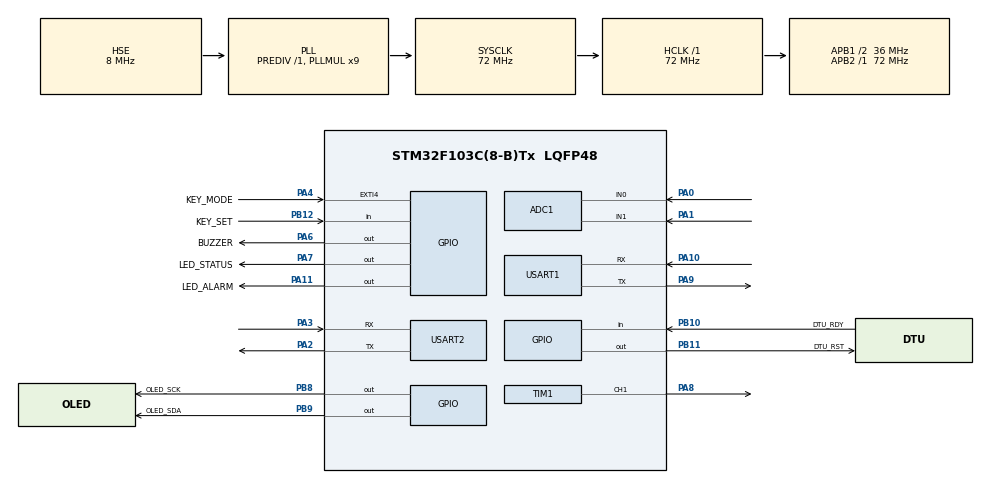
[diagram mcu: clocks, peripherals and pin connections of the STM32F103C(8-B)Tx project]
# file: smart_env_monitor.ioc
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ADC1.Channel-4\#ChannelRegularConversion=ADC_CHANNEL_0
ADC1.NbrOfConversionFlag=1
ADC1.Rank-4\#ChannelRegularConversion=1
ADC1.SamplingTime-4\#ChannelRegularConversion=ADC_SAMPLETIME_239CYCLES_5
ADC1.master=1
Dma.ADC1.0.Direction=DMA_PERIPH_TO_MEMORY
Dma.ADC1.0.Instance=DMA1_Channel1
Dma.ADC1.0.MemDataAlignment=DMA_MDATAALIGN_HALFWORD
Dma.ADC1.0.MemInc=DMA_MINC_ENABLE
Dma.ADC1.0.Mode=DMA_NORMAL
Dma.ADC1.0.PeriphDataAlignment=DMA_PDATAALIGN_HALFWORD
Dma.ADC1.0.PeriphInc=DMA_PINC_DISABLE
Dma.ADC1.0.Priority=DMA_PRIORITY_LOW
Dma.Request0=ADC1
FREERTOS.Queues01=xSensorQueue,5,8,1,Dynamic,NULL,NULL;xKeyQueue,3,4,1,Dynamic,NULL,NULL
FREERTOS.Tasks01=defaultTask,24,128,StartDefaultTask,Default,NULL,Dynamic,NULL,NULL;SensorTask,32,256,Task1,Default,NULL,Dynamic,NULL,NULL;DisplayTask,24,256,Task2,Default,NULL,Dynamic,NULL,NULL;ControlTask,32,256,Task3,Default,NULL,Dynamic,NULL,NULL;DtuTask,16,512,Task4,Default,NULL,Dynamic,NULL,NULL;KeyTask,40,128,Task5,Default,NULL,Dynamic,NULL,NULL
FREERTOS.configTOTAL_HEAP_SIZE=10240
Mcu.Family=STM32F1
Mcu.Name=STM32F103C(8-B)Tx
Mcu.Package=LQFP48
NVIC.EXTI4_IRQn=true\:6\:0\:true\:false\:true\:true\:true\:true\:true
NVIC.PriorityGroup=NVIC_PRIORITYGROUP_4
NVIC.TIM2_IRQn=true\:0\:0\:false\:false\:true\:false\:false\:true\:true
NVIC.TimeBase=TIM2_IRQn
NVIC.TimeBaseIP=TIM2
NVIC.USART1_IRQn=true\:5\:0\:true\:false\:true\:true\:true\:true\:true
NVIC.USART2_IRQn=true\:5\:0\:true\:false\:true\:true\:true\:true\:true
PA0-WKUP.Signal=ADCx_IN0
PA1.Signal=ADCx_IN1
PA10.Mode=Asynchronous
PA10.Signal=USART1_RX
PA11.GPIO_Label=LED_ALARM
PA11.Signal=GPIO_Output
PA13.Mode=Serial_Wire
PA13.Signal=SYS_JTMS-SWDIO
PA14.Mode=Serial_Wire
PA14.Signal=SYS_JTCK-SWCLK
PA2.Mode=Asynchronous
PA2.Signal=USART2_TX
PA3.Mode=Asynchronous
PA3.Signal=USART2_RX
PA4.GPIO_Label=KEY_MODE
PA4.GPIO_ModeDefaultEXTI=GPIO_MODE_IT_FALLING
PA4.GPIO_PuPd=GPIO_PULLUP
PA4.Signal=GPXTI4
PA6.GPIO_Label=BUZZER
PA6.Signal=GPIO_Output
PA7.GPIO_Label=LED_STATUS
PA7.Signal=GPIO_Output
PA8.Signal=S_TIM1_CH1
PA9.Mode=Asynchronous
PA9.Signal=USART1_TX
PB10.GPIO_Label=DTU_RDY
PB10.Signal=GPIO_Input
PB11.GPIO_Label=DTU_RST
PB11.Signal=GPIO_Output
PB12.GPIO_Label=KEY_SET
PB12.GPIO_PuPd=GPIO_PULLUP
PB12.Signal=GPIO_Input
PB8.GPIO_Label=OLED_SCK
PB8.GPIO_ModeDefaultOutputPP=GPIO_MODE_OUTPUT_OD
PB8.GPIO_PuPd=GPIO_NOPULL
PB8.GPIO_Speed=GPIO_SPEED_FREQ_HIGH
PB8.Signal=GPIO_Output
PB9.GPIO_Label=OLED_SDA
PB9.GPIO_ModeDefaultOutputPP=GPIO_MODE_OUTPUT_OD
PB9.GPIO_PuPd=GPIO_NOPULL
PB9.GPIO_Speed=GPIO_SPEED_FREQ_HIGH
PB9.Signal=GPIO_Output
PD0-OSC_IN.Mode=HSE-External-Oscillator
PD0-OSC_IN.Signal=RCC_OSC_IN
PD1-OSC_OUT.Mode=HSE-External-Oscillator
PD1-OSC_OUT.Signal=RCC_OSC_OUT
ProjectManager.HeapSize=0x200
ProjectManager.StackSize=0x400
ProjectManager.TargetToolchain=MDK-ARM V5.32
RCC.ADCPresc=RCC_ADCPCLK2_DIV6
RCC.AHBFreq_Value=72000000
RCC.APB1CLKDivider=RCC_HCLK_DIV2
RCC.APB1Freq_Value=36000000
RCC.APB1TimFreq_Value=72000000
RCC.APB2Freq_Value=72000000
RCC.APB2TimFreq_Value=72000000
RCC.HCLKFreq_Value=72000000
RCC.PLLMUL=RCC_PLL_MUL9
RCC.PLLSourceVirtual=RCC_PLLSOURCE_HSE
RCC.SYSCLKFreq_VALUE=72000000
RCC.SYSCLKSource=RCC_SYSCLKSOURCE_PLLCLK
RCC.USBFreq_Value=72000000
SH.ADCx_IN0.0=ADC1_IN0,IN0
SH.ADCx_IN1.0=ADC1_IN1,IN1
SH.S_TIM1_CH1.0=TIM1_CH1,PWM Generation1 CH1
TIM1.Channel-PWM\ Generation1\ CH1=TIM_CHANNEL_1
TIM1.Period=19999
TIM1.Prescaler=71
TIM1.Pulse-PWM\ Generation1\ CH1=150
USART1.VirtualMode=VM_ASYNC
USART2.VirtualMode=VM_ASYNC
VP_FREERTOS_VS_CMSIS_V2.Mode=CMSIS_V2
VP_SYS_VS_tim2.Mode=TIM2
board=custom

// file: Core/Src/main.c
/* USER CODE BEGIN Header */
/**
  ******************************************************************************
  * @file           : main.c
  * @brief          : Main program body
  ******************************************************************************
  * @attention
  *
  * Copyright (c) 2026 STMicroelectronics.
  * All rights reserved.
  *
  * This software is licensed under terms that can be found in the LICENSE file
  * in the root directory of this software component.
  * If no LICENSE file comes with this software, it is provided AS-IS.
  *
  ******************************************************************************
  */
/* USER CODE END Header */
#include "main.h"
#include "cmsis_os.h"
#include "adc.h"
#include "dma.h"
#include "tim.h"
#include "usart.h"
#include "gpio.h"
#include "oled.h"

/* USER CODE BEGIN Includes */
#include "cmsis_os2.h"
/* USER CODE END Includes */

/* USER CODE BEGIN PV */
extern osThreadId_t SensorTaskHandle;
extern osThreadId_t DisplayTaskHandle;
extern osThreadId_t ControlTaskHandle;
extern osThreadId_t DtuTaskHandle;
extern osThreadId_t KeyTaskHandle;
extern osMessageQueueId_t xSensorQueueHandle;
extern osMessageQueueId_t xKeyQueueHandle;
extern osSemaphoreId_t xSem_Key;
extern volatile float g_temp_value;
extern volatile float g_light_value;
/* USER CODE END PV */

void SystemClock_Config(void);
void MX_FREERTOS_Init(void);
/* USER CODE BEGIN PFP */
void StartDefaultTask(void *argument);
void Task1(void *argument);
void Task2(void *argument);
void Task3(void *argument);
void Task4(void *argument);
void Task5(void *argument);
/* USER CODE END PFP */

int main(void)
{

  /* MCU Configuration--------------------------------------------------------*/

  /* Reset of all peripherals, Initializes the Flash interface and the Systick. */
  HAL_Init();

  /* Configure the system clock */
  SystemClock_Config();

  /* Initialize all configured peripherals */
  MX_GPIO_Init();
  MX_DMA_Init();
  MX_ADC1_Init();
  MX_TIM1_Init();
  MX_USART1_UART_Init();
  MX_USART2_UART_Init();
  /* USER CODE BEGIN 2 */
  /* 初始化 OLED 显示屏 */
  OLED_Init();
  OLED_Clear();
  OLED_ShowString(1, 1, "SmartEnvMonitor");
  OLED_ShowString(2, 1, "Initializing...");

  /* ADC 校准（STM32F1 需要在首次转换前执行） */
  HAL_ADCEx_Calibration_Start(&hadc1);

  /* 初始化舵机到中间位置 */
  HAL_TIM_PWM_Start(&htim1, TIM_CHANNEL_1);
  __HAL_TIM_SET_COMPARE(&htim1, TIM_CHANNEL_1, 1500);

  /* 初始化所有输出为关闭状态 */
  HAL_GPIO_WritePin(BUZZER_GPIO_Port, BUZZER_Pin, GPIO_PIN_SET);      /* PA6 高电平灭 */
  HAL_GPIO_WritePin(LED_STATUS_GPIO_Port, LED_STATUS_Pin, GPIO_PIN_SET);   /* PA7 高电平灭 */
  HAL_GPIO_WritePin(LED_ALARM_GPIO_Port, LED_ALARM_Pin, GPIO_PIN_SET);     /* PA11 高电平灭 */
  /* USER CODE END 2 */

  /* Init scheduler */
  osKernelInitialize();  /* Call init function for freertos objects (in cmsis_os2.c) */
  MX_FREERTOS_Init();

  /* Start scheduler */
  osKernelStart();

  /* We should never get here as control is now taken by the scheduler */

  /* Infinite loop */
  while (1)
  {

  }
}

void SystemClock_Config(void)
{
  RCC_OscInitTypeDef RCC_OscInitStruct = {0};
  RCC_ClkInitTypeDef RCC_ClkInitStruct = {0};
  RCC_PeriphCLKInitTypeDef PeriphClkInit = {0};

  /** Initializes the RCC Oscillators according to the specified parameters
  * in the RCC_OscInitTypeDef structure.
  */
  RCC_OscInitStruct.OscillatorType = RCC_OSCILLATORTYPE_HSE;
  RCC_OscInitStruct.HSEState = RCC_HSE_ON;
  RCC_OscInitStruct.HSEPredivValue = RCC_HSE_PREDIV_DIV1;
  RCC_OscInitStruct.HSIState = RCC_HSI_ON;
  RCC_OscInitStruct.PLL.PLLState = RCC_PLL_ON;
  RCC_OscInitStruct.PLL.PLLSource = RCC_PLLSOURCE_HSE;
  RCC_OscInitStruct.PLL.PLLMUL = RCC_PLL_MUL9;
  if (HAL_RCC_OscConfig(&RCC_OscInitStruct) != HAL_OK)
  {
    Error_Handler();
  }

  /** Initializes the CPU, AHB and APB buses clocks
  */
  RCC_ClkInitStruct.ClockType = RCC_CLOCKTYPE_HCLK|RCC_CLOCKTYPE_SYSCLK
                              |RCC_CLOCKTYPE_PCLK1|RCC_CLOCKTYPE_PCLK2;
  RCC_ClkInitStruct.SYSCLKSource = RCC_SYSCLKSOURCE_PLLCLK;
  RCC_ClkInitStruct.AHBCLKDivider = RCC_SYSCLK_DIV1;
  RCC_ClkInitStruct.APB1CLKDivider = RCC_HCLK_DIV2;
  RCC_ClkInitStruct.APB2CLKDivider = RCC_HCLK_DIV1;

  if (HAL_RCC_ClockConfig(&RCC_ClkInitStruct, FLASH_LATENCY_2) != HAL_OK)
  {
    Error_Handler();
  }
  PeriphClkInit.PeriphClockSelection = RCC_PERIPHCLK_ADC;
  PeriphClkInit.AdcClockSelection = RCC_ADCPCLK2_DIV6;
  if (HAL_RCCEx_PeriphCLKConfig(&PeriphClkInit) != HAL_OK)
  {
    Error_Handler();
  }
}

/* USER CODE BEGIN 4 */

/**
  * @brief GPIO外部中断回调函数，按键触发时释放信号量
  */
void HAL_GPIO_EXTI_Callback(uint16_t GPIO_Pin)
{
    if (GPIO_Pin == KEY_MODE_Pin)
    {
        osSemaphoreRelease(xSem_Key);
    }
}
/* USER CODE END 4 */

void HAL_TIM_PeriodElapsedCallback(TIM_HandleTypeDef *htim)
{
  if (htim->Instance == TIM2)
  {
    HAL_IncTick();
  }
}

void Error_Handler(void)
{
  /* USER CODE BEGIN Error_Handler_Debug */
  /* 打印故障原因后挂起，等 IWDG（约 2s 超时）硬件复位——不再永久死机。
     注意：USART2 未初始化时 gState 为 RESET，跳过打印直接等待复位；
     看门狗未挂载前（上电早期）的行为与旧版一致（死等）。 */
  {
    char msg[] = "[ERR] HAL error, IWDG resets in ~2s\r\n";
    if (huart2.gState == HAL_UART_STATE_READY)
    {
      HAL_UART_Transmit(&huart2, (uint8_t *)msg, sizeof(msg) - 1, 100);
    }
  }
  __disable_irq();
  while (1)
  {
  }
  /* USER CODE END Error_Handler_Debug */
}

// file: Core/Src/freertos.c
/* USER CODE BEGIN Header */
/**
  ******************************************************************************
  * File Name          : freertos.c
  * Description        : Code for freertos applications
  ******************************************************************************
  * @attention
  *
  * Copyright (c) 2026 STMicroelectronics.
  * All rights reserved.
  *
  * This software is licensed under terms that can be found in the LICENSE file
  * in the root directory of this software component.
  * If no LICENSE file comes with this software, it is provided AS-IS.
  *
  ******************************************************************************
  */
/* USER CODE END Header */

#include "FreeRTOS.h"
#include "task.h"
#include "main.h"
#include "cmsis_os.h"

/* USER CODE BEGIN Includes */
#include "oled.h"
#include "adc.h"
#include "tim.h"
#include "usart.h"
#include <stdio.h>
#include <string.h>
#include <stdlib.h>
/* USER CODE END Includes */

/* USER CODE BEGIN PD */
/* ---- 硬件 / 协议常量：集中定义，避免魔法数字散布 ---- */
#define ADC_FULL_SCALE   4095  /* ADC 12 位满量程 */
#define SERVO_MIN_PULSE  500   /* 舵机最小脉宽(μs)，约 0° */
#define SERVO_MAX_PULSE  2500  /* 舵机最大脉宽(μs)，约 180° */
#define SERVO_MID_PULSE  1500  /* 舵机中位脉宽(μs)，约 90° */
#define SERVO_STEP       500   /* 手动模式步进脉宽(μs) */
#define SERVO_STEPS      5     /* 手动模式档位数量 */
#define LIGHT_THR_MIN    10    /* 光照阈值下界(%) */
#define LIGHT_THR_MAX    50    /* 光照阈值上界(%) */
#define LIGHT_THR_STEP   5     /* 光照阈值步进(%) */
#define LIGHT_THR_DEFAULT 30   /* 光照阈值初值(%) */
#define TEMP_THR_MIN     15    /* 温度阈值下界(°C) */
#define TEMP_THR_MAX     45    /* 温度阈值上界(°C) */
#define TEMP_THR_STEP    5     /* 温度阈值步进(°C) */
#define TEMP_THR_DEFAULT 30    /* 温度阈值初值(°C) */
#define VIN_REPORT_DV    33    /* 供电电压上报(×0.1V)，当前为占位值未实测 */
#define KEY_DEBOUNCE_MS  30    /* KEY_MODE 消抖窗口(ms)，与 KEY_SET 轮询消抖一致 */
#define KEY_POLL_MS      20    /* KeyTask 轮询周期(ms) */
#define SENSOR_SAMPLE_MS 1000  /* 传感器采样周期(ms)：1s 采样，5s 汇总上报 */
#define CONTROL_PERIOD_MS 200  /* ControlTask 报警控制周期(ms) */
#define DTU_TASK_PERIOD_MS 200 /* DtuTask 主循环周期(ms)，兼作 IWDG 喂狗间隔 */
#define DISPLAY_REFRESH_MS 300 /* DisplayTask OLED 刷新周期(ms) */
#define DISPLAY_INIT_HOLD_MS 100 /* OLED 初始化后等待(ms) */
#define RX_STATS_INTERVAL_MS 10000 /* 命令接收统计打印周期(ms) */
#define LIGHT_MAP_MAX_PCT 100.0f  /* 光照百分比线性映射上界(%) */
#define TEMP_MAP_MAX_C    50.0f   /* 温度线性映射上界(°C)：未标定，仅 ADC 线性估计（见 README 已知限制） */
/* USER CODE END PD */

/* USER CODE BEGIN Variables */
/* 传感器数据结构 */
typedef struct {
    uint16_t light_raw;
    uint16_t temp_raw;
    float light_pct;
    float temp_c;
} SensorData_t;

/* 全局传感器值（供其他模块读取） */
volatile float g_temp_value = 0.0f;
volatile float g_light_value = 0.0f;

/* 滑动均值滤波器 */
#define FILTER_SIZE 16
static uint16_t light_buf[FILTER_SIZE] = {0};
static uint16_t temp_buf[FILTER_SIZE] = {0};
static uint32_t light_sum = 0;
static uint32_t temp_sum = 0;
static uint8_t filter_idx = 0;
static uint8_t filter_cnt = 0;

/* 系统工作模式 */
typedef enum { MODE_AUTO = 0, MODE_MANUAL, MODE_SET } WorkMode_t;
#define WORK_MODE_COUNT ((int)MODE_SET + 1)  /* 模式总数，按键循环切换取模用 */
volatile WorkMode_t g_work_mode = MODE_AUTO;

/* 报警阈值 */
volatile uint8_t g_light_threshold = LIGHT_THR_DEFAULT;  /* 光照阈值(%) */
volatile uint8_t g_temp_threshold  = TEMP_THR_DEFAULT;   /* 温度阈值(°C) */
volatile uint8_t g_set_state = 0;         /* SET模式：0=调光照 1=调温度 2=保存退出 */

/* 舵机脉宽（500~2500 μs 对应约 0°~180°） */
volatile uint16_t g_servo_pulse = SERVO_MID_PULSE;

/* 信号量（在 MX_FREERTOS_Init 中创建） */
osSemaphoreId_t xSem_Key;
const osSemaphoreAttr_t xSem_Key_attr = { .name = "SemKey" };

/* 调试串口互斥量：Task1(传感器) 与 DtuTask(通信) 共用 huart2，防止输出交错 */
osMutexId_t xHuart2Mutex;
const osMutexAttr_t xHuart2Mutex_attr = { .name = "Huart2Mutex" };

/* ---- USART1（DTU）命令接收：环形缓冲，ISR 只写字节，DtuTask 组行消费。
     旧固定单缓冲的缺陷：① 连续两条指令到达时，第二条的 strncpy 会覆盖
     尚未被消费的第一条（丢命令）；② ISR 内做 256B strncpy 过长；
     ③ 缓冲满时静默清零，整帧丢弃无痕迹；④ 共享命令缓冲无 volatile。
     环形缓冲后：连续指令不丢帧、ISR 仅做几个字节的存取、溢出计数可观测。 ---- */
#define DTU_RX_RING_SIZE  256   /* 2 的幂，取模退化为掩码 */
#define DTU_RX_RING_MASK  (DTU_RX_RING_SIZE - 1)
static uint8_t  dtu_rx_byte;                    /* HAL_Receive_IT 的目标地址 */
static volatile uint8_t  dtu_rx_ring[DTU_RX_RING_SIZE];  /* ISR 写、任务读 */
static volatile uint16_t dtu_rx_head = 0;       /* 生产端（ISR） */
static volatile uint16_t dtu_rx_tail = 0;       /* 消费端（DtuTask） */
static volatile uint32_t dtu_rx_overflow = 0;   /* 环满丢字节计数（可观测） */
static volatile uint32_t dtu_rx_lines = 0;      /* 已处理命令行计数（可观测） */
static volatile uint32_t dtu_rx_arm_fail = 0;   /* ISR 重挂 Receive_IT 失败计数 */
static char dtu_cmd_line[DTU_RX_RING_SIZE];     /* 任务私有组行缓冲，无竞争 */
static uint16_t dtu_line_len = 0;

/* 收到指令的回显（验证用）：2026-08-08 连续下发 4 条指令验证通过
   （lines=4 overflow=0），已置 0 关闭。重新验证 PA9/PA10 接线时置 1：
   ① 打到调试口 [DTU] RX: xxx；
   ② 原样回发 USART1(PA9)，助手 RX 接 PA9 时直接看到指令弹回来，
      证明 助手TX→PA10 与 PA9→助手RX 双向链路都通。 */
#define DTU_RX_ECHO 0

/* ---- USART2（调试口）指令通道：同一套环形缓冲 + 行组装，复用 DTU_ParseCommand。
     一根 USB-TTL 接 PA2/PA3 即可同时看日志 + 发指令；PA9/PA10 保持专属于 DTU，
     避免两根 TX 打架。命令回显 [HOST] RX: xxx 直接打在调试口，同一窗口可见。 ---- */
#define HOST_RX_RING_SIZE  DTU_RX_RING_SIZE
#define HOST_RX_RING_MASK  (HOST_RX_RING_SIZE - 1)
static uint8_t  host_rx_byte;                    /* HAL_Receive_IT 的目标地址 */
static volatile uint8_t  host_rx_ring[HOST_RX_RING_SIZE];
static volatile uint16_t host_rx_head = 0;       /* 生产端（USART2 ISR） */
static volatile uint16_t host_rx_tail = 0;       /* 消费端（DtuTask） */
static volatile uint32_t host_rx_overflow = 0;   /* 环满丢字节计数（可观测） */
static volatile uint32_t host_rx_lines = 0;      /* 已处理命令行计数（可观测） */
static volatile uint32_t host_rx_arm_fail = 0;   /* ISR 重挂 Receive_IT 失败计数 */
static char host_cmd_line[HOST_RX_RING_SIZE];    /* 任务私有组行缓冲，无竞争 */
static uint16_t host_line_len = 0;

/* 心跳上报周期(ms)：DTU 链路健康由平台侧按上报新鲜度判定（5s 上报，
   网关侧 15s 未更新判离线），无硬件断连检测——RDY/RST 引脚（PB10/PB11）未接线。
   旧"断连自动复位"逻辑因 DTU_IsConnected 恒返回 1 而不可达，属死代码，已删除。 */
#define DTU_REPORT_INTERVAL 5000

#define SENSOR_DEBUG_INTERVAL 5000
/* USER CODE END Variables */
/* Definitions for defaultTask */
osThreadId_t defaultTaskHandle;
const osThreadAttr_t defaultTask_attributes = {
  .name = "defaultTask",
  .stack_size = 128 * 4,
  .priority = (osPriority_t) osPriorityNormal,
};
/* Definitions for SensorTask */
osThreadId_t SensorTaskHandle;
const osThreadAttr_t SensorTask_attributes = {
  .name = "SensorTask",
  .stack_size = 256 * 4,
  .priority = (osPriority_t) osPriorityAboveNormal,
};
/* Definitions for DisplayTask */
osThreadId_t DisplayTaskHandle;
const osThreadAttr_t DisplayTask_attributes = {
  .name = "DisplayTask",
  .stack_size = 256 * 4,
  .priority = (osPriority_t) osPriorityNormal,
};
/* Definitions for ControlTask */
osThreadId_t ControlTaskHandle;
const osThreadAttr_t ControlTask_attributes = {
  .name = "ControlTask",
  .stack_size = 256 * 4,
  .priority = (osPriority_t) osPriorityAboveNormal,
};
/* Definitions for DtuTask（任务名与硬件职责一致：驱动 4G DTU） */
osThreadId_t DtuTaskHandle;
const osThreadAttr_t DtuTask_attributes = {
  .name = "DtuTask",
  .stack_size = 512 * 4,
  .priority = (osPriority_t) osPriorityBelowNormal,
};
/* Definitions for KeyTask */
osThreadId_t KeyTaskHandle;
const osThreadAttr_t KeyTask_attributes = {
  .name = "KeyTask",
  .stack_size = 128 * 4,
  .priority = (osPriority_t) osPriorityHigh,
};
/* Definitions for xSensorQueue */
osMessageQueueId_t xSensorQueueHandle;
const osMessageQueueAttr_t xSensorQueue_attributes = {
  .name = "xSensorQueue"
};
/* Definitions for xKeyQueue */
osMessageQueueId_t xKeyQueueHandle;
const osMessageQueueAttr_t xKeyQueue_attributes = {
  .name = "xKeyQueue"
};

/* USER CODE BEGIN FunctionPrototypes */
static uint16_t SensorFilter(uint16_t new_val, uint16_t *buf, uint32_t *sum);
static uint16_t ADC_ReadChannel(uint32_t channel);
static void UART2_Print(const char *msg);
static void PrintStackWatermarks(void);
static void DTU_Init(void);
static void DTU_SendData(const char *data);
static void DTU_SendTelemetry(const char *did, uint8_t debug_log);
static void DTU_ParseCommand(const char *cmd);
static void DTU_ProcessRx(void);
static void HOST_Init(void);
static void HOST_ProcessRx(void);
static void IWDG_Init(void);
static void IWDG_Feed(void);

/* 验证用：向串口发 CRASH 模拟死机，IWDG 约 2s 后自动复位（上板验证看门狗，
   已于 2026-08-08 两次验证通过）。终版置 0 关闭——测试钩子不进交付固件；
   需复验时翻回 1 重新编译烧录即可。 */
#define WDT_CRASH_TEST 0
/* USER CODE END FunctionPrototypes */

void StartDefaultTask(void *argument);
void Task1(void *argument);
void Task2(void *argument);
void Task3(void *argument);
void Task4(void *argument);
void Task5(void *argument);

void MX_FREERTOS_Init(void); /* (MISRA C 2004 rule 8.1) */

void MX_FREERTOS_Init(void) {

  /* USER CODE BEGIN RTOS_MUTEX */
  xHuart2Mutex = osMutexNew(&xHuart2Mutex_attr);
  /* USER CODE END RTOS_MUTEX */

  /* USER CODE BEGIN RTOS_SEMAPHORES */
  xSem_Key = osSemaphoreNew(1, 0, &xSem_Key_attr);
  /* USER CODE END RTOS_SEMAPHORES */

  /* Create the queue(s) */
  /* creation of xSensorQueue */
  xSensorQueueHandle = osMessageQueueNew (5, 8, &xSensorQueue_attributes);

  /* creation of xKeyQueue */
  xKeyQueueHandle = osMessageQueueNew (3, 4, &xKeyQueue_attributes);

  /* Create the thread(s) */
  /* creation of defaultTask */
  defaultTaskHandle = osThreadNew(StartDefaultTask, NULL, &defaultTask_attributes);

  /* creation of SensorTask */
  SensorTaskHandle = osThreadNew(Task1, NULL, &SensorTask_attributes);

  /* creation of DisplayTask */
  DisplayTaskHandle = osThreadNew(Task2, NULL, &DisplayTask_attributes);

  /* creation of ControlTask */
  ControlTaskHandle = osThreadNew(Task3, NULL, &ControlTask_attributes);

  /* creation of DtuTask */
  DtuTaskHandle = osThreadNew(Task4, NULL, &DtuTask_attributes);

  /* creation of KeyTask */
  KeyTaskHandle = osThreadNew(Task5, NULL, &KeyTask_attributes);

}

void StartDefaultTask(void *argument)
{
  for(;;)
  {
    osDelay(1);
  }
}

void Task1(void *argument)
{
  /* USER CODE BEGIN Task1 */
  SensorData_t data;
  uint32_t last_debug = 0;

  for (;;)
  {
    data.light_raw = ADC_ReadChannel(ADC_CHANNEL_0);
    data.temp_raw  = ADC_ReadChannel(ADC_CHANNEL_1);

    if (filter_cnt < FILTER_SIZE) filter_cnt++;
    data.light_raw = SensorFilter(data.light_raw, light_buf, &light_sum);
    data.temp_raw  = SensorFilter(data.temp_raw,  temp_buf,  &temp_sum);
    filter_idx = (filter_idx + 1) % FILTER_SIZE;

    data.light_pct = LIGHT_MAP_MAX_PCT - ((float)data.light_raw / (float)ADC_FULL_SCALE * LIGHT_MAP_MAX_PCT);
    data.temp_c = TEMP_MAP_MAX_C - ((float)data.temp_raw / (float)ADC_FULL_SCALE * TEMP_MAP_MAX_C);

    g_light_value = data.light_pct;
    g_temp_value  = data.temp_c;

    if ((HAL_GetTick() - last_debug) >= SENSOR_DEBUG_INTERVAL)
    {
      char debug_json[160];
      int l = (int)(g_light_value + 0.5f);
      int t = (int)(g_temp_value + 0.5f);
      snprintf(debug_json, sizeof(debug_json),
               "[SENSOR] {\"light\":%d,\"temp\":%d,\"mode\":%d,\"servo\":%d}\r\n",
               l, t, (int)g_work_mode, (int)g_servo_pulse);
      UART2_Print(debug_json);
      PrintStackWatermarks();
      last_debug = HAL_GetTick();
    }

    osDelay(SENSOR_SAMPLE_MS);
  }
  /* USER CODE END Task1 */
}

void Task2(void *argument)
{
  /* USER CODE BEGIN Task2 */
  char line[17];
  WorkMode_t last_mode = (WorkMode_t)-1;
  int last_light = -1, last_temp = -1;
  uint8_t last_set_state = 0xFF;
  uint8_t last_lt = 0xFF, last_tt = 0xFF;

  OLED_Clear();
  osDelay(DISPLAY_INIT_HOLD_MS);

  for (;;)
  {
    /* 模式跨越 SET 边界时重发 OLED 初始化：复位可能已失同步的 SSD1306
       （花屏/黑屏自愈，免去断电重启）。首轮 last_mode=0xFF 与 AUTO 同为
       "非SET"，不会触发。 */
    if ((last_mode == MODE_SET) != (g_work_mode == MODE_SET))
    {
        OLED_Reinit();
    }

    if (g_work_mode == MODE_SET)
    {
        if (last_mode != MODE_SET || last_set_state != g_set_state ||
            last_lt != g_light_threshold || last_tt != g_temp_threshold)
        {
            /* 每行固定 16 字符全宽覆盖，杜绝模式切换后残留旧字符（如 "Bright:96%%"） */
            snprintf(line, sizeof(line), "Light Thr:%2d%%   ", g_light_threshold);
            vTaskSuspendAll();  /* 防止高优先级任务在 bit-bang I2C 中途抢占导致断帧 */
            OLED_ShowString(1, 1, line);
            xTaskResumeAll();

            snprintf(line, sizeof(line), "Temp Thr:%2dC    ", g_temp_threshold);
            vTaskSuspendAll();
            OLED_ShowString(2, 1, line);
            xTaskResumeAll();

            switch (g_set_state)
            {
                case 0:  OLED_ShowString(3, 1, "Set Light Thr   "); break;
                case 1:  OLED_ShowString(3, 1, "Set Temp Thr    "); break;
                case 2:  OLED_ShowString(3, 1, "Save&Exit       "); break;
            }
            last_set_state = g_set_state;
            last_lt = g_light_threshold;
            last_tt = g_temp_threshold;
        }
    }
    else
    {
        int light_int = (int)(g_light_value + 0.5f);
        int temp_int = (int)g_temp_value;

        if (last_mode != g_work_mode || last_light != light_int)
        {
            snprintf(line, sizeof(line), "Bright:%3d%%     ", light_int);
            vTaskSuspendAll();
            OLED_ShowString(1, 1, line);
            xTaskResumeAll();
            last_light = light_int;
        }

        if (last_mode != g_work_mode || last_temp != temp_int)
        {
            snprintf(line, sizeof(line), "Temp:   %2dC     ", temp_int);
            vTaskSuspendAll();
            OLED_ShowString(2, 1, line);
            xTaskResumeAll();
            last_temp = temp_int;
        }

        if (last_mode != g_work_mode)
        {
            switch (g_work_mode)
            {
                case MODE_AUTO:   OLED_ShowString(3, 1, "Mode:   Auto    "); break;
                case MODE_MANUAL: OLED_ShowString(3, 1, "Mode:   Manual  "); break;
                default: break;
            }
        }

        last_set_state = 0xFF;
        last_lt = 0xFF;
        last_tt = 0xFF;
    }

    last_mode = g_work_mode;
    osDelay(DISPLAY_REFRESH_MS);
  }
  /* USER CODE END Task2 */
}

void Task3(void *argument)
{
  /* USER CODE BEGIN Task3 */
  for (;;)
  {
    if (g_work_mode == MODE_AUTO)
    {
        float light = g_light_value;
        float temp  = g_temp_value;

        /* 光照报警：PA11 + 舵机 */
        if (light < (float)g_light_threshold)
        {
            HAL_GPIO_WritePin(LED_ALARM_GPIO_Port, LED_ALARM_Pin, GPIO_PIN_RESET);
            __HAL_TIM_SET_COMPARE(&htim1, TIM_CHANNEL_1, SERVO_MAX_PULSE);
        }
        else
        {
            HAL_GPIO_WritePin(LED_ALARM_GPIO_Port, LED_ALARM_Pin, GPIO_PIN_SET);
            __HAL_TIM_SET_COMPARE(&htim1, TIM_CHANNEL_1, SERVO_MIN_PULSE);
        }

        /* 温度报警：PA7 */
        if (temp > (float)g_temp_threshold)
        {
            HAL_GPIO_WritePin(LED_STATUS_GPIO_Port, LED_STATUS_Pin, GPIO_PIN_RESET);
        }
        else
        {
            HAL_GPIO_WritePin(LED_STATUS_GPIO_Port, LED_STATUS_Pin, GPIO_PIN_SET);
        }
    }
    else if (g_work_mode == MODE_MANUAL)
    {
        __HAL_TIM_SET_COMPARE(&htim1, TIM_CHANNEL_1, g_servo_pulse);
    }

    osDelay(CONTROL_PERIOD_MS);
  }
  /* USER CODE END Task3 */
}

void Task4(void *argument)
{
  /* USER CODE BEGIN Task4 */
  uint32_t last_report = 0;
  uint32_t last_rx_stat = 0;

  DTU_Init();
  HOST_Init();
  IWDG_Init();   /* 看门狗最后挂载：此后任何死循环/任务饿死都触发硬件复位 */

  for (;;)
  {
    IWDG_Feed();   /* 喂狗：200ms 周期 << 2s 超时，留足 10 倍余量 */
    DTU_ProcessRx();
    HOST_ProcessRx();

    /* 每 10s 打印命令接收统计：连续下发指令后核对 lines 递增、overflow=0，
       是环形缓冲"不丢帧"的板上可观测证据 */
    if ((HAL_GetTick() - last_rx_stat) >= RX_STATS_INTERVAL_MS)
    {
      char stat[200];
      snprintf(stat, sizeof(stat),
               "[DTU] RX lines=%lu overflow=%lu arm_fail=%lu | "
               "[HOST] RX lines=%lu overflow=%lu arm_fail=%lu\r\n",
               (unsigned long)dtu_rx_lines, (unsigned long)dtu_rx_overflow,
               (unsigned long)dtu_rx_arm_fail,
               (unsigned long)host_rx_lines, (unsigned long)host_rx_overflow,
               (unsigned long)host_rx_arm_fail);
      UART2_Print(stat);
      last_rx_stat = HAL_GetTick();
    }

    /* 心跳上报：DTU 链路健康由平台侧按上报新鲜度判定（见 DTU_REPORT_INTERVAL 注释），
       无硬件 RDY/RST 断连检测——原"断连自动复位"死逻辑已删除 */
    if ((HAL_GetTick() - last_report) >= DTU_REPORT_INTERVAL)
    {
      DTU_SendTelemetry("0", 1);
      last_report = HAL_GetTick();
    }

    osDelay(DTU_TASK_PERIOD_MS);
  }
  /* USER CODE END Task4 */
}

void Task5(void *argument)
{
  /* USER CODE BEGIN Task5 */
  uint8_t pb12_prev = 1;
  uint8_t servo_idx = 0;

  for (;;)
  {
    /* ---- KEY_MODE (PA4)：EXTI 中断 + 任务内消抖 ---- */
    if (osSemaphoreAcquire(xSem_Key, 10) == osOK)
    {
        /* 消抖：等信号稳定后重读引脚，确认按键确实按下 */
        osDelay(KEY_DEBOUNCE_MS);
        if (HAL_GPIO_ReadPin(KEY_MODE_GPIO_Port, KEY_MODE_Pin) == GPIO_PIN_RESET)
        {
            if (g_work_mode == MODE_SET)
            {
                /* SET模式：PA4 减小当前阈值 */
                if (g_set_state == 0)
                {
                    if (g_light_threshold <= LIGHT_THR_MIN) g_light_threshold = LIGHT_THR_MAX;
                    else g_light_threshold -= LIGHT_THR_STEP;
                }
                else if (g_set_state == 1)
                {
                    if (g_temp_threshold <= TEMP_THR_MIN) g_temp_threshold = TEMP_THR_MAX;
                    else g_temp_threshold -= TEMP_THR_STEP;
                }
            }
            else
            {
                g_work_mode = (WorkMode_t)(((int)g_work_mode + 1) % WORK_MODE_COUNT);
                if (g_work_mode == MODE_MANUAL)
                {
                    servo_idx = 0;
                    g_servo_pulse = SERVO_MIN_PULSE;
                }
                else if (g_work_mode == MODE_SET)
                {
                    g_set_state = 0;
                }
            }
        }
        /* 排空消抖窗口内积累的信号量，避免抖动被计为多次按键 */
        while (osSemaphoreAcquire(xSem_Key, 0) == osOK) {}
    }

    /* ---- KEY_SET (PB12)：轮询边沿检测 ---- */
    uint8_t pb12_now = HAL_GPIO_ReadPin(KEY_SET_GPIO_Port, KEY_SET_Pin);
    if (pb12_prev == 1 && pb12_now == 0)
    {
        osDelay(KEY_DEBOUNCE_MS);
        if (HAL_GPIO_ReadPin(KEY_SET_GPIO_Port, KEY_SET_Pin) == 0)
        {
            if (g_work_mode == MODE_MANUAL)
            {
                servo_idx = (servo_idx + 1) % SERVO_STEPS;
                g_servo_pulse = SERVO_MIN_PULSE + servo_idx * SERVO_STEP;
            }
            else if (g_work_mode == MODE_SET)
            {
                if (g_set_state == 0)
                {
                    g_light_threshold += LIGHT_THR_STEP;
                    if (g_light_threshold > LIGHT_THR_MAX) g_light_threshold = LIGHT_THR_MIN;
                }
                else if (g_set_state == 1)
                {
                    g_temp_threshold += TEMP_THR_STEP;
                    if (g_temp_threshold > TEMP_THR_MAX) g_temp_threshold = TEMP_THR_MIN;
                }
                else
                {
                    g_work_mode = MODE_AUTO;
                    g_set_state = 0;
                }
                if (g_work_mode == MODE_SET)
                {
                    g_set_state++;
                    if (g_set_state > 2) g_set_state = 0;
                }
            }
        }
    }
    pb12_prev = pb12_now;

    osDelay(KEY_POLL_MS);
  }
  /* USER CODE END Task5 */
}

/* USER CODE BEGIN Application */

/* 调试串口输出：互斥保护，避免 Task1 与 DtuTask 输出交错 */
static void UART2_Print(const char *msg)
{
  if (msg == NULL)
  {
    return;
  }
  if (xHuart2Mutex != NULL)
  {
    osMutexAcquire(xHuart2Mutex, osWaitForever);
  }
  HAL_UART_Transmit(&huart2, (uint8_t *)msg, strlen(msg), 100);
  if (xHuart2Mutex != NULL)
  {
    osMutexRelease(xHuart2Mutex);
  }
}

/* 周期打印各任务栈剩余量（osThreadGetStackSpace 内部 = uxTaskGetStackHighWaterMark × 4 字节） */
static void PrintStackWatermarks(void)
{
  char line[128];
  snprintf(line, sizeof(line),
           "[STACK] Sensor:%4uB Dsp:%4uB Ctl:%4uB Dtu:%4uB Key:%4uB Def:%4uB\r\n",
           (unsigned)osThreadGetStackSpace(SensorTaskHandle),
           (unsigned)osThreadGetStackSpace(DisplayTaskHandle),
           (unsigned)osThreadGetStackSpace(ControlTaskHandle),
           (unsigned)osThreadGetStackSpace(DtuTaskHandle),
           (unsigned)osThreadGetStackSpace(KeyTaskHandle),
           (unsigned)osThreadGetStackSpace(defaultTaskHandle));
  UART2_Print(line);
}

static void DTU_Init(void)
{
  HAL_GPIO_WritePin(DTU_RST_GPIO_Port, DTU_RST_Pin, GPIO_PIN_RESET);
  dtu_rx_head = 0;
  dtu_rx_tail = 0;
  dtu_rx_overflow = 0;
  dtu_rx_lines = 0;
  dtu_rx_arm_fail = 0;
  dtu_line_len = 0;
  if (HAL_UART_Receive_IT(&huart1, &dtu_rx_byte, 1) != HAL_OK)
  {
    UART2_Print("[ERR] USART1 RX arm failed\r\n");
  }

  const char *msg = "[DTU] init done\r\n";
  UART2_Print(msg);
}

static void DTU_SendData(const char *data)
{
  if (data == NULL)
  {
    return;
  }
  /* DTU 未接电/线断时 Transmit 会阻塞至超时返回 HAL_BUSY，必须检查而非静默丢弃 */
  if (HAL_UART_Transmit(&huart1, (uint8_t *)data, strlen(data), 500) != HAL_OK)
  {
    UART2_Print("[ERR] USART1 TX data failed\r\n");
    return;
  }
  if (HAL_UART_Transmit(&huart1, (uint8_t *)"\r\n", 2, 100) != HAL_OK)
  {
    UART2_Print("[ERR] USART1 TX terminator failed\r\n");
  }
}

static void DTU_SendTelemetry(const char *did, uint8_t debug_log)
{
  char json[256];
  const char *use_did = (did != NULL && did[0] != '\0') ? did : "0";
  int l = (int)(g_light_value + 0.5f);
  int t = (int)(g_temp_value + 0.5f);
  int m = (int)g_work_mode;
  int sw1 = (g_work_mode == MODE_MANUAL) ? 1 : 0;
  int in1 = (g_temp_value > (float)g_temp_threshold) ? 1 : 0;
  int vin = VIN_REPORT_DV;
  unsigned long ts = (unsigned long)(HAL_GetTick() / 1000U);

  snprintf(json, sizeof(json),
           "{\"cmd\":\"dup\",\"did\":\"%s\",\"times\":\"%lu000\","
           "\"param\":{\"light\":%d,\"temp\":%d,\"mode\":%d,"
           "\"sw1\":%d,\"in1\":%d,\"vin\":%d}}",
           use_did, ts, l, t, m, sw1, in1, vin);

  DTU_SendData(json);

  if (debug_log)
  {
    char dbg[300];
    snprintf(dbg, sizeof(dbg), "[DTU] TX dup: %s\r\n", json);
    UART2_Print(dbg);
  }
}

static void DTU_ParseCommand(const char *cmd)
{
  if (cmd == NULL)
  {
    return;
  }

  if (strstr(cmd, "\"cmd\":\"sget\"") || strstr(cmd, "\"cmd\": \"sget\""))
  {
    const char *msg = "[DTU] RX sget ignored, auto report only\r\n";
    UART2_Print(msg);
  }
  else if (strstr(cmd, "SERVO="))
  {
    int pulse = atoi(strstr(cmd, "SERVO=") + 6);
    if (pulse < SERVO_MIN_PULSE) pulse = SERVO_MIN_PULSE;
    if (pulse > SERVO_MAX_PULSE) pulse = SERVO_MAX_PULSE;
    g_servo_pulse = (uint16_t)pulse;
    g_work_mode = MODE_MANUAL;
  }
  else if (strstr(cmd, "MODE=AUTO"))
  {
    g_work_mode = MODE_AUTO;
  }
  else if (strstr(cmd, "MODE=MANUAL"))
  {
    g_work_mode = MODE_MANUAL;
  }
  else if (strstr(cmd, "LED=ON"))
  {
    HAL_GPIO_WritePin(LED_ALARM_GPIO_Port, LED_ALARM_Pin, GPIO_PIN_RESET);
  }
  else if (strstr(cmd, "LED=OFF"))
  {
    HAL_GPIO_WritePin(LED_ALARM_GPIO_Port, LED_ALARM_Pin, GPIO_PIN_SET);
  }
#if WDT_CRASH_TEST
  else if (strstr(cmd, "CRASH"))
  {
    UART2_Print("[WDT] deliberate crash, IWDG resets in ~2s\r\n");
    __disable_irq();
    while (1)
    {
    }
  }
#endif
}

/* 消费 USART1 环形缓冲并组装命令行：任务私有缓冲，ISR 只写环。
   \n 或 \r 视为行结束；空行忽略；超长行整行丢弃（防半帧假命令）。 */
static void DTU_ProcessRx(void)
{
  while (dtu_rx_tail != dtu_rx_head)
  {
    uint8_t ch = dtu_rx_ring[dtu_rx_tail];
    dtu_rx_tail = (uint16_t)((dtu_rx_tail + 1) & DTU_RX_RING_MASK);

    if (ch == '\n' || ch == '\r')
    {
      if (dtu_line_len > 0)
      {
        dtu_cmd_line[dtu_line_len] = '\0';
#if DTU_RX_ECHO
        UART2_Print("[DTU] RX: ");
        UART2_Print(dtu_cmd_line);
        UART2_Print("\r\n");
        /* 原样回发 USART1：验证接线时，助手端直接看到自己发的指令回来 */
        DTU_SendData(dtu_cmd_line);
#endif
        DTU_ParseCommand(dtu_cmd_line);
        dtu_rx_lines++;
        dtu_line_len = 0;
      }
      continue;
    }

    if (dtu_line_len < sizeof(dtu_cmd_line) - 1)
    {
      dtu_cmd_line[dtu_line_len++] = (char)ch;
    }
    else
    {
      dtu_line_len = 0;   /* 超长：丢弃整行，不解析半帧 */
    }
  }
}

/* USART2（调试口）指令通道初始化：清零计数并挂起单字节中断接收 */
static void HOST_Init(void)
{
  host_rx_head = 0;
  host_rx_tail = 0;
  host_rx_overflow = 0;
  host_rx_lines = 0;
  host_rx_arm_fail = 0;
  host_line_len = 0;
  if (HAL_UART_Receive_IT(&huart2, &host_rx_byte, 1) != HAL_OK)
  {
    UART2_Print("[ERR] USART2 RX arm failed\r\n");
  }
}

/* 消费 USART2 环形缓冲并组装命令行：与 DTU 通道同构，命令解析复用。
   回显 [HOST] RX: xxx 直接打在调试口——同一窗口可见，无需换线。 */
static void HOST_ProcessRx(void)
{
  while (host_rx_tail != host_rx_head)
  {
    uint8_t ch = host_rx_ring[host_rx_tail];
    host_rx_tail = (uint16_t)((host_rx_tail + 1) & HOST_RX_RING_MASK);

    if (ch == '\n' || ch == '\r')
    {
      if (host_line_len > 0)
      {
        host_cmd_line[host_line_len] = '\0';
        UART2_Print("[HOST] RX: ");
        UART2_Print(host_cmd_line);
        UART2_Print("\r\n");
        DTU_ParseCommand(host_cmd_line);
        host_rx_lines++;
        host_line_len = 0;
      }
      continue;
    }

    if (host_line_len < sizeof(host_cmd_line) - 1)
    {
      host_cmd_line[host_line_len++] = (char)ch;
    }
    else
    {
      host_line_len = 0;   /* 超长：丢弃整行，不解析半帧 */
    }
  }
}

/* ---- IWDG 看门狗：LSI 独立时钟驱动，不复位、不失效；任何任务死循环/饿死
     超过超时即硬件复位（取代 Error_Handler 的 while(1) 永久死等）。
     寄存器级实现（F1 HAL 的 IWDG 模块未启用）：
     KR=0x5555 解锁 → 写 PR/RLR → KR=0xAAAA 重装 → KR=0xCCCC 启动；喂狗写 KR=0xAAAA。
     超时 = (PR=64 ÷ LSI 40kHz) × RLR=1250 ≈ 2s（LSI 实际 30~60kHz，约 1.5~3s）。 ---- */
static void IWDG_Init(void)
{
  __HAL_RCC_LSI_ENABLE();
  while ((RCC->CSR & RCC_CSR_LSIRDY) == 0U)
  {
  }

  IWDG->KR = 0x5555U;   /* 解锁写保护 */
  IWDG->PR = 0x4U;      /* 预分频 /64 → 1.6ms/计数（40kHz 标称） */
  IWDG->RLR = 1250U;    /* 约 2s 超时 */
  IWDG->KR = 0xAAAAU;   /* 装载重载值 */
  IWDG->KR = 0xCCCCU;   /* 启动 */
  UART2_Print("[WDT] IWDG armed, ~2s timeout\r\n");
}

static void IWDG_Feed(void)
{
  IWDG->KR = 0xAAAAU;   /* 重新装载计数器 */
}

void HAL_UART_RxCpltCallback(UART_HandleTypeDef *huart)
{
  if (huart->Instance == USART1)
  {
    uint16_t next = (uint16_t)((dtu_rx_head + 1) & DTU_RX_RING_MASK);
    if (next != dtu_rx_tail)
    {
      dtu_rx_ring[dtu_rx_head] = dtu_rx_byte;
      dtu_rx_head = next;
    }
    else
    {
      dtu_rx_overflow++;   /* 环满：丢新字节并计数，不再静默覆盖旧命令 */
    }

    if (HAL_UART_Receive_IT(&huart1, &dtu_rx_byte, 1) != HAL_OK)
    {
      dtu_rx_arm_fail++;   /* 重挂失败：接收将静默停止，必须可观测 */
    }
  }
  else if (huart->Instance == USART2)
  {
    uint16_t next = (uint16_t)((host_rx_head + 1) & HOST_RX_RING_MASK);
    if (next != host_rx_tail)
    {
      host_rx_ring[host_rx_head] = host_rx_byte;
      host_rx_head = next;
    }
    else
    {
      host_rx_overflow++;   /* 环满：丢新字节并计数 */
    }

    if (HAL_UART_Receive_IT(&huart2, &host_rx_byte, 1) != HAL_OK)
    {
      host_rx_arm_fail++;   /* 重挂失败：接收将静默停止，必须可观测 */
    }
  }
}

/* ---- 辅助函数 ---- */

/**
  * @brief 滑动均值滤波器
  */
static uint16_t SensorFilter(uint16_t new_val, uint16_t *buf, uint32_t *sum)
{
    *sum -= buf[filter_idx];
    buf[filter_idx] = new_val;
    *sum += new_val;
    return (uint16_t)(*sum / filter_cnt);
}

/**
  * @brief 读取指定ADC通道的原始值
  */
static uint16_t ADC_ReadChannel(uint32_t channel)
{
    ADC_ChannelConfTypeDef sConfig = {0};
    static uint16_t last_value[2] = {0, 0};  /* 按通道保留上次成功值，转换失败时回退 */
    uint8_t ch = (channel == ADC_CHANNEL_1) ? 1 : 0;

    sConfig.Channel = channel;
    sConfig.Rank = ADC_REGULAR_RANK_1;
    sConfig.SamplingTime = ADC_SAMPLETIME_239CYCLES_5;
    if (HAL_ADC_ConfigChannel(&hadc1, &sConfig) != HAL_OK)
    {
        UART2_Print("[ERR] ADC config failed\r\n");
        return last_value[ch];
    }
    if (HAL_ADC_Start(&hadc1) != HAL_OK)
    {
        UART2_Print("[ERR] ADC start failed\r\n");
        return last_value[ch];
    }
    if (HAL_ADC_PollForConversion(&hadc1, 100) != HAL_OK)
    {
        HAL_ADC_Stop(&hadc1);
        UART2_Print("[ERR] ADC conv timeout\r\n");
        return last_value[ch];
    }
    last_value[ch] = (uint16_t)HAL_ADC_GetValue(&hadc1);
    HAL_ADC_Stop(&hadc1);
    return last_value[ch];
}

/* USER CODE END Application */
